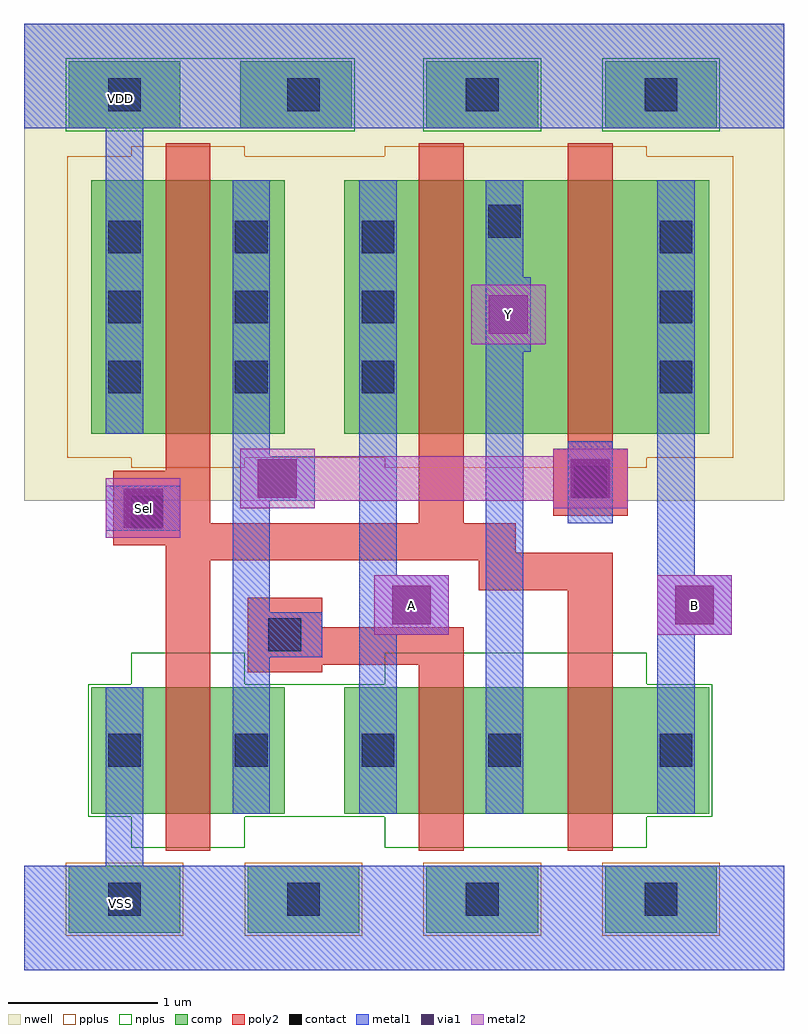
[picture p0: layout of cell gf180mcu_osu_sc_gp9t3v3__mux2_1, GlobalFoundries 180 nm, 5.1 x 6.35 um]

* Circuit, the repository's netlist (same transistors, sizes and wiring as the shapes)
* Extracted by KLayout with GF180MCU LVS runset on : 21/08/2025 13:38

.SUBCKT gf180mcu_osu_sc_gp9t3v3__mux2_1 VSS VDD A Y B Sel
M$1 \$3 Sel VDD VDD pfet_03v3 L=0.3U W=1.7U AS=0.85P AD=0.85P PS=4.4U PD=4.4U
M$2 Y Sel A VDD pfet_03v3 L=0.3U W=1.7U AS=0.85P AD=0.595P PS=4.4U PD=2.4U
M$3 B \$3 Y VDD pfet_03v3 L=0.3U W=1.7U AS=0.595P AD=1.105P PS=2.4U PD=4.7U
M$4 \$3 Sel VSS VSS nfet_03v3 L=0.3U W=0.85U AS=0.425P AD=0.425P PS=2.7U PD=2.7U
M$5 Y \$3 A VSS nfet_03v3 L=0.3U W=0.85U AS=0.425P AD=0.2975P PS=2.7U PD=1.55U
M$6 B Sel Y VSS nfet_03v3 L=0.3U W=0.85U AS=0.2975P AD=0.5525P PS=1.55U PD=3U
.ENDS gf180mcu_osu_sc_gp9t3v3__mux2_1

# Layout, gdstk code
import gdstk
lib = gdstk.Library(unit=1e-6, precision=1e-09)
def R(c, l, rs):  # rectangles x0, y0, x1, y1
    for r in rs: c.add(gdstk.rectangle(r[:2], r[2:], *l))
def A(c, l, x, y, w, h, nx, ny, dx, dy):  # array of equal rectangles
    R(c, l, [(x+i*dx, y+j*dy, x+i*dx+w, y+j*dy+h) for i in range(nx) for j in range(ny)])
nwell = (21, 0)
comp = (22, 0)
poly2 = (30, 0)
pplus = (31, 0)
nplus = (32, 0)
contact = (33, 0)
metal1 = (34, 0)
via1 = (35, 0)
metal2 = (36, 0)

gf180mcu_osu_sc_gp9t3v3_ = lib.new_cell('gf180mcu_osu_sc_gp9t3v3__mux2_1')
R(gf180mcu_osu_sc_gp9t3v3_, nwell, [(0,3.15,5.1,6.35)])
A(gf180mcu_osu_sc_gp9t3v3_, comp, 0.3, 0.25, 0.75, 0.45, 4, 1, 1.2, 0)
R(gf180mcu_osu_sc_gp9t3v3_, comp, [(0.45,1.05,1.75,1.9), (2.15,1.05,4.6,1.9), (0.45,3.6,1.75,5.3), (2.15,3.6,4.6,5.3), (0.3,5.65,1.05,6.1), (1.45,5.65,2.2,6.1), (2.7,5.65,3.45,6.1), (3.9,5.65,4.65,6.1)])
R(gf180mcu_osu_sc_gp9t3v3_, poly2, [(0.95,0.8,1.25,2.75), (2.65,0.8,2.95,2.05), (3.65,0.8,3.95,2.55), (1.5,2,2,2.05), (1.5,2.05,2.95,2.3), (1.5,2.3,2,2.5), (3.05,2.55,3.95,2.75), (0.95,2.75,3.95,2.8), (0.95,2.8,3.3,2.85), (0.6,2.85,3.3,3), (0.6,3,1.25,3.35), (2.65,3,2.95,5.55), (3.55,3.05,4.05,3.5), (0.95,3.35,1.25,5.55), (3.65,3.5,3.95,5.55)])
A(gf180mcu_osu_sc_gp9t3v3_, pplus, 0.28, 0.23, 0.79, 0.49, 4, 1, 1.2, 0)
R(gf180mcu_osu_sc_gp9t3v3_, pplus, [(0.72,3.37,1.48,3.44), (2.42,3.37,4.18,3.44), (0.29,3.44,4.76,5.46), (0.72,5.46,1.48,5.53), (2.42,5.46,4.18,5.53)])
R(gf180mcu_osu_sc_gp9t3v3_, nplus, [(0.72,0.82,1.48,1.03), (2.42,0.82,4.18,1.03), (0.43,1.03,4.62,1.92), (0.72,1.92,1.48,2.13), (2.42,1.92,4.18,2.13), (0.28,5.63,2.22,6.12), (2.68,5.63,3.47,6.12), (3.88,5.63,4.67,6.12)])
A(gf180mcu_osu_sc_gp9t3v3_, contact, 0.565, 0.365, 0.22, 0.22, 4, 2, 1.2, 5.4)
A(gf180mcu_osu_sc_gp9t3v3_, contact, 0.565, 1.365, 0.22, 0.22, 4, 1, 0.85, 0)
A(gf180mcu_osu_sc_gp9t3v3_, contact, 0.565, 3.87, 0.22, 0.22, 3, 3, 0.85, 0.47)
A(gf180mcu_osu_sc_gp9t3v3_, contact, 4.265, 3.87, 0.22, 0.22, 1, 3, 0, 0.47)
R(gf180mcu_osu_sc_gp9t3v3_, contact, [(4.265,1.365,4.485,1.585), (1.64,2.14,1.86,2.36), (0.715,2.965,0.935,3.185), (3.69,3.165,3.91,3.385), (3.115,4.915,3.335,5.135)])
R(gf180mcu_osu_sc_gp9t3v3_, metal1, [(0,0,5.1,0.7), (0.55,0.7,0.8,1.9), (1.4,1.05,1.65,2.1), (2.25,1.05,2.5,2.25), (3.1,1.05,3.35,4.15), (4.25,1.05,4.5,2.25), (1.4,2.1,2,2.4), (2.25,2.25,2.85,2.65), (4.25,2.25,4.75,2.65), (1.4,2.4,1.65,3.15), (2.25,2.65,2.5,5.3), (4.25,2.65,4.5,5.3), (0.55,2.95,1.05,3.25), (3.65,3,3.95,3.55), (1.4,3.15,1.95,3.45), (1.4,3.45,1.65,5.3), (0.55,3.6,0.8,5.65), (3.1,4.15,3.4,4.65), (3.1,4.65,3.35,5.3), (0,5.65,5.1,6.35)])
R(gf180mcu_osu_sc_gp9t3v3_, via1, [(2.47,2.32,2.73,2.58), (4.37,2.32,4.63,2.58), (0.67,2.97,0.93,3.23), (1.57,3.17,1.83,3.43), (3.67,3.17,3.93,3.43), (3.12,4.27,3.38,4.53)])
R(gf180mcu_osu_sc_gp9t3v3_, metal2, [(2.35,2.25,2.85,2.65), (4.25,2.25,4.75,2.65), (0.55,2.9,1.05,3.3), (1.45,3.1,1.95,3.15), (3.55,3.1,4.05,3.15), (1.45,3.15,4.05,3.45), (1.45,3.45,1.95,3.5), (3.55,3.45,4.05,3.5), (3,4.2,3.5,4.6)])
gf180mcu_osu_sc_gp9t3v3_.add(gdstk.Label('A', (2.6,2.45), layer=36, texttype=10))
gf180mcu_osu_sc_gp9t3v3_.add(gdstk.Label('B', (4.5,2.45), layer=36, texttype=10))
gf180mcu_osu_sc_gp9t3v3_.add(gdstk.Label('Sel', (0.8,3.1), layer=36, texttype=10))
gf180mcu_osu_sc_gp9t3v3_.add(gdstk.Label('Y', (3.25,4.4), layer=36, texttype=10))
gf180mcu_osu_sc_gp9t3v3_.add(gdstk.Label('VDD', (0.65,5.85), layer=34, texttype=10))
gf180mcu_osu_sc_gp9t3v3_.add(gdstk.Label('VSS', (0.65,0.45), layer=34, texttype=10))

lib.write_gds('gf180mcu_osu_sc_gp9t3v3__mux2_1.gds')
